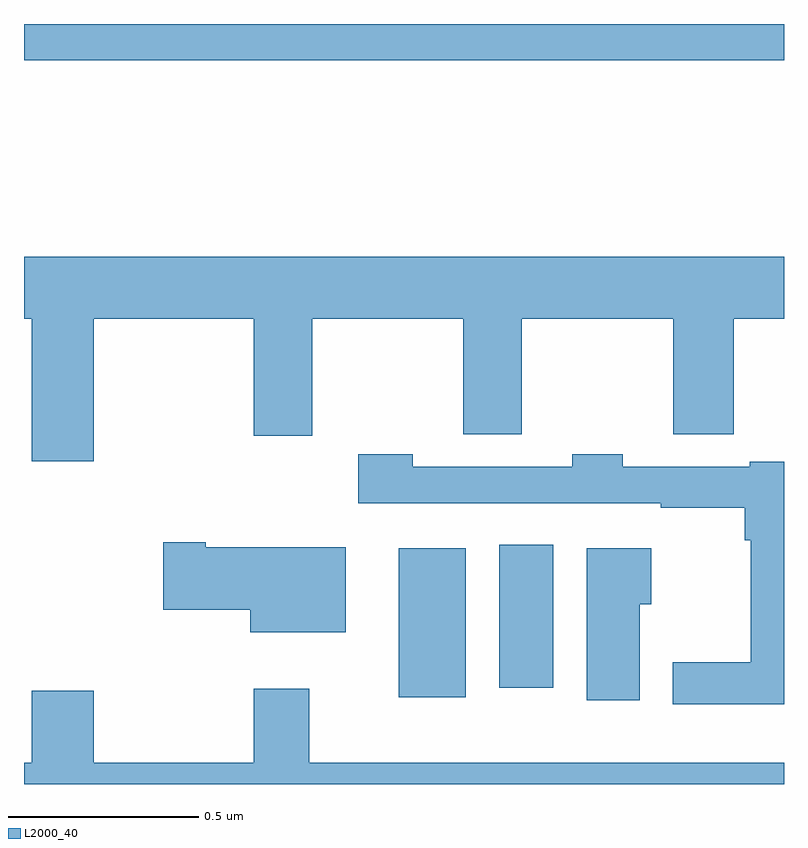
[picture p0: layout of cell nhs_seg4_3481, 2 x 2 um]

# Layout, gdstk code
import gdstk
lib = gdstk.Library(unit=1e-6, precision=1e-09)
def R(c, l, rs):  # rectangles x0, y0, x1, y1
    for r in rs: c.add(gdstk.rectangle(r[:2], r[2:], *l))
def P(c, l, *ps):  # polygons
    for p in ps: c.add(gdstk.Polygon(p, *l))
L2000_40 = (2000, 40)

nhs_seg4_3481 = lib.new_cell('nhs_seg4_3481')
R(nhs_seg4_3481, L2000_40, [(153.986,825.128,154.162,825.52), (154.25,825.153,154.393,825.529), (153,826.804,155,826.9)])
P(nhs_seg4_3481, L2000_40, [(153.184,826.124),(153.604,826.124),(153.604,825.816),(153.759,825.816),(153.759,826.124),(154.156,826.124),(154.156,825.82),(154.31,825.82),(154.31,826.124),(154.708,826.124),(154.708,825.82),(154.868,825.82),(154.868,826.124),(155,826.124),(155,826.288),(153,826.288),(153,826.124),(153.02,826.124),(153.02,825.75),(153.184,825.75)],
  [(155,825.748),(154.91,825.748),(154.91,825.735),(154.575,825.735),(154.575,825.768),(154.443,825.768),(154.443,825.735),(154.023,825.735),(154.023,825.768),(153.879,825.768),(153.879,825.639),(154.675,825.639),(154.675,825.627),(154.897,825.627),(154.897,825.542),(154.912,825.542),(154.912,825.22),(154.707,825.22),(154.707,825.11),(155,825.11)],
  [(153.847,825.523),(153.478,825.523),(153.478,825.536),(153.366,825.536),(153.366,825.358),(153.596,825.358),(153.596,825.299),(153.847,825.299)],
  [(154.621,825.373),(154.651,825.373),(154.651,825.52),(154.481,825.52),(154.481,825.12),(154.621,825.12)],
  [(155,824.956),(153.751,824.956),(153.751,825.151),(153.604,825.151),(153.604,824.956),(153.184,824.956),(153.184,825.145),(153.02,825.145),(153.02,824.956),(153,824.956),(153,824.9),(155,824.9)])

lib.write_gds('nhs_seg4_3481.gds')
